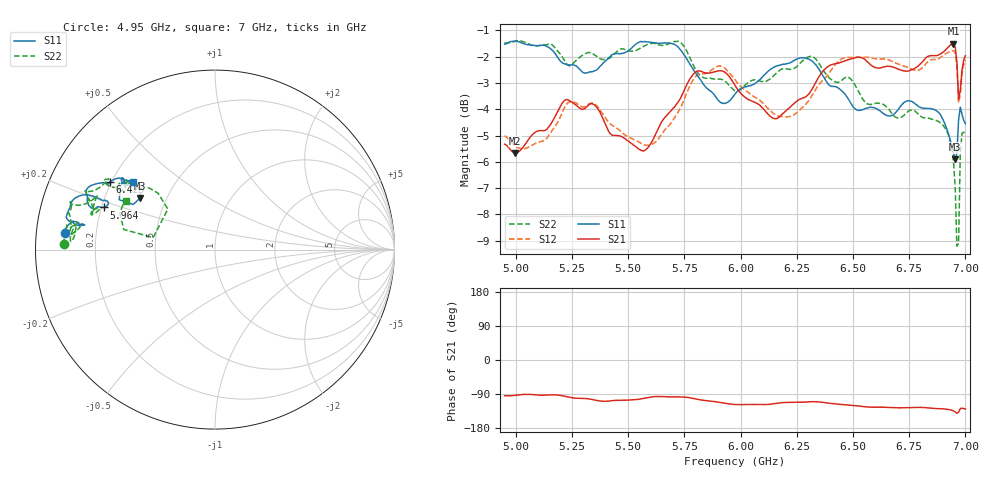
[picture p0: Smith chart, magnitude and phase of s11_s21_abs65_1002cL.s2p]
! MS46122B
! 1919307/90821646
! 5/16/2022 1:16:13 PM
! C:\USERS\PC_\DESKTOP\CARACTERIZACION\MEDICIONES\BANDA ANCHA\S11_S21_ABS65_1002C.S2P
! CHANNEL.1
! TR.MEASUREMENT
! CORRECTED.DATA
# GHZ S RI R 50.0
! FREQ.GHZ  S11RE  S11IM  S21RE  S21IM  S12RE  S12IM  S22RE  S22IM
!; PortSelection: Port_12
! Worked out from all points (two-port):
!   272 points, 4.95 GHz to 7 GHz, reference 50 ohm
!   highest |S21| = -1.51 dB at 6.947 GHz (marker M1); lowest = -5.7 dB at 4.995 GHz (marker M2)
!   |S21| within 3 dB of the highest: 5.16 GHz to 5.395 GHz (235.6 MHz wide, 4.46 % of centre); 5.647 GHz to end of sweep
!   lowest |S11| = -5.9 dB at 6.955 GHz (marker M3), VSWR 3.06, Z = 17.7 + j13.6 ohm
!   |S11| at or under -10 dB: nowhere
!   |S22| runs from -9.2 to -1.4 dB; largest |S21 - S12| = 0.044
!   S11 on the Smith chart (normalised r, x): 4.95 GHz: 0.09, +0.06; 5.964 GHz: 0.21, +0.18; 6.425 GHz: 0.19, +0.28; 7 GHz: 0.29, +0.33
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4.95  -0.8335 0.0934  -0.0411 -0.5398  -0.0476 -0.5598  -0.8439 0.029
4.995387  -0.8442 0.0967  -0.0299 -0.5199  -0.0419 -0.5359  -0.8433 0.1031
5.176937  -0.7875 0.1548  -0.0226 -0.6135  -0.0337 -0.5863  -0.8189 0.0853
5.29797  -0.728 0.1388  -0.1248 -0.6184  -0.0999 -0.6294  -0.792 0.1107
5.343358  -0.7312 0.138  -0.1632 -0.6244  -0.1327 -0.6348  -0.8027 0.0445
5.464391  -0.7882 0.1585  -0.1587 -0.5382  -0.1862 -0.5428  -0.8122 0.1161
5.638376  -0.8079 0.2354  -0.0648 -0.5815  -0.0742 -0.5526  -0.8082 0.2123
5.736716  -0.7575 0.2984  -0.0874 -0.6619  -0.088 -0.6344  -0.8021 0.2567
5.804797  -0.6727 0.2951  -0.1732 -0.7246  -0.1561 -0.7149  -0.6944 0.2699
5.963653  -0.6212 0.2351  -0.3232 -0.6356  -0.312 -0.658  -0.6566 0.2124
5.978782  -0.6351 0.2352  -0.3216 -0.6172  -0.3188 -0.6394  -0.6453 0.2244
6.145203  -0.71 0.2622  -0.2609 -0.5473  -0.2811 -0.5523  -0.6851 0.2493
6.319188  -0.6914 0.3569  -0.2364 -0.6485  -0.2369 -0.6285  -0.7234 0.3275
6.425092  -0.5858 0.3762  -0.339 -0.6927  -0.2982 -0.7105  -0.594 0.389
6.659594  -0.4973 0.3576  -0.4396 -0.6216  -0.4635 -0.6308  -0.535 0.3345
6.803321  -0.5059 0.3839  -0.4444 -0.6314  -0.4482 -0.6054  -0.4951 0.3578
6.947048  -0.4148 0.3141  -0.5883 -0.6006  -0.5665 -0.5863  -0.3668 0.3429
6.954613  -0.4195 0.2849  -0.6056 -0.5642  -0.5842 -0.5579  -0.3181 0.3153
6.962177  -0.4554 0.2518  -0.6003 -0.4925  -0.5804 -0.4919  -0.2626 0.2262
6.969742  -0.5337 0.2779  -0.4886 -0.443  -0.4743 -0.4426  -0.3444 0.0671
6.977306  -0.526 0.3584  -0.4228 -0.5395  -0.4056 -0.5361  -0.5084 0.1121
7  -0.457 0.3767  -0.5049 -0.6169  -0.4789 -0.618  -0.4961 0.2721
